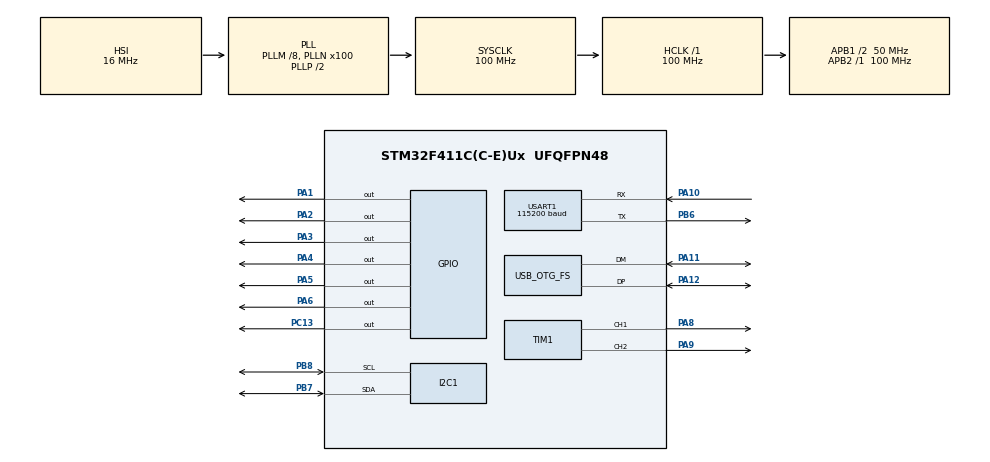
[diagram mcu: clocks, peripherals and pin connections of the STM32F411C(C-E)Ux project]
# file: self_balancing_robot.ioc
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FREERTOS.Tasks01=defaultTask,24,128,StartDefaultTask,Default,NULL,Dynamic,NULL,NULL
Mcu.Family=STM32F4
Mcu.Name=STM32F411C(C-E)Ux
Mcu.Package=UFQFPN48
NVIC.OTG_FS_IRQn=true\:5\:0\:false\:false\:true\:true\:false\:true\:true
NVIC.PriorityGroup=NVIC_PRIORITYGROUP_4
NVIC.USART1_IRQn=true\:5\:0\:false\:false\:true\:true\:true\:true\:true
PA1.Signal=GPIO_Output
PA10.GPIO_PuPd=GPIO_PULLUP
PA10.Mode=Asynchronous
PA10.Signal=USART1_RX
PA11.Mode=Device_Only
PA11.Signal=USB_OTG_FS_DM
PA12.Mode=Device_Only
PA12.Signal=USB_OTG_FS_DP
PA2.Signal=GPIO_Output
PA3.Signal=GPIO_Output
PA4.Signal=GPIO_Output
PA5.Signal=GPIO_Output
PA6.Signal=GPIO_Output
PA8.Signal=S_TIM1_CH1
PA9.Signal=S_TIM1_CH2
PB6.Mode=Asynchronous
PB6.Signal=USART1_TX
PB7.GPIO_Pu=GPIO_PULLUP
PB7.Mode=I2C
PB7.Signal=I2C1_SDA
PB8.GPIO_Pu=GPIO_PULLUP
PB8.Mode=I2C
PB8.Signal=I2C1_SCL
PC13-ANTI_TAMP.Signal=GPIO_Output
ProjectManager.HeapSize=0x200
ProjectManager.StackSize=0x400
ProjectManager.TargetToolchain=STM32CubeIDE
RCC.48MHZClocksFreq_Value=50000000
RCC.AHBFreq_Value=100000000
RCC.APB1CLKDivider=RCC_HCLK_DIV2
RCC.APB1Freq_Value=50000000
RCC.APB1TimFreq_Value=100000000
RCC.APB2Freq_Value=100000000
RCC.APB2TimFreq_Value=100000000
RCC.CortexFreq_Value=100000000
RCC.HCLKFreq_Value=100000000
RCC.HSE_VALUE=25000000
RCC.HSI_VALUE=16000000
RCC.LSE_VALUE=32768
RCC.PLLM=8
RCC.PLLN=100
RCC.PLLSource=RCC_PLLSOURCE_HSI
RCC.PLLSourceVirtualString=RCC_PLLSOURCE_HSI
RCC.SYSCLKFreq_VALUE=100000000
RCC.SYSCLKSource=RCC_SYSCLKSOURCE_PLLCLK
RCC.VCOOutputFreq_Value=200000000
SH.S_TIM1_CH1.0=TIM1_CH1,PWM Generation1 CH1
SH.S_TIM1_CH2.0=TIM1_CH2,PWM Generation2 CH2
TIM1.Channel-PWM\ Generation1\ CH1=TIM_CHANNEL_1
TIM1.Channel-PWM\ Generation2\ CH2=TIM_CHANNEL_2
USART1.BaudRate=115200
USART1.VirtualMode=VM_ASYNC
USB_DEVICE.CLASS_NAME_FS=CDC
USB_DEVICE.VirtualMode=Cdc
USB_DEVICE.VirtualModeFS=Cdc_FS
USB_OTG_FS.VirtualMode=Device_Only
VP_FREERTOS_VS_CMSIS_V2.Mode=CMSIS_V2
VP_TIM1_VS_ClockSourceINT.Mode=Internal
VP_USB_DEVICE_VS_USB_DEVICE_CDC_FS.Mode=CDC_FS
board=custom

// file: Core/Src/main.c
/* USER CODE BEGIN Header */
/**
  ******************************************************************************
  * @file           : main.c
  * @brief          : Main program body
  ******************************************************************************
  */
/* USER CODE END Header */
#include "main.h"
#include "cmsis_os.h"
#include "usb_device.h"

/* USER CODE BEGIN Includes */
#include "mpu6050.h"
#include "pid.h"
#include "motor.h"
#include "bluetooth.h"
#include "usbd_cdc_if.h"
/* USER CODE END Includes */

/* USER CODE BEGIN PD */
#define TARGET_ANGLE    0.0f    // 목표 각도 (직립)
#define CONTROL_PERIOD  10      // 제어 주기 (ms)
/* USER CODE END PD */

I2C_HandleTypeDef hi2c1;

TIM_HandleTypeDef htim1;

UART_HandleTypeDef huart1;

/* Definitions for defaultTask */
osThreadId_t defaultTaskHandle;
const osThreadAttr_t defaultTask_attributes = {
  .name = "defaultTask",
  .stack_size = 128 * 4,
  .priority = (osPriority_t) osPriorityNormal,
};
/* USER CODE BEGIN PV */
// FreeRTOS 태스크 핸들
osThreadId_t imuTaskHandle;
osThreadId_t pidTaskHandle;
osThreadId_t btTaskHandle;
osThreadId_t imuDebugTaskHandle;   // [진단용] IMU 각도 USB 출력 태스크

// 태스크 속성
const osThreadAttr_t imuTask_attributes = {
  .name = "imuTask",
  .stack_size = 256 * 4,
  .priority = (osPriority_t) osPriorityHigh,
};
const osThreadAttr_t pidTask_attributes = {
  .name = "pidTask",
  .stack_size = 256 * 4,
  .priority = (osPriority_t) osPriorityAboveNormal,
};
const osThreadAttr_t btTask_attributes = {
  .name = "btTask",
  .stack_size = 256 * 4,
  .priority = (osPriority_t) osPriorityNormal,
};
// [진단용] IMU 디버그 태스크 속성 - 테스트 끝나면 삭제
const osThreadAttr_t imuDebugTask_attributes = {
  .name = "imuDebugTask",
  .stack_size = 256 * 4,
  .priority = (osPriority_t) osPriorityLow,
};

// 전역 변수
MPU6050_Data imu_data;
PID_Controller pid;
BT_Data bt_data;
volatile uint32_t i2c_fail_count = 0;

// 뮤텍스
osMutexId_t imu_mutex;
osMutexId_t pid_mutex;
/* USER CODE END PV */

void SystemClock_Config(void);
static void MX_GPIO_Init(void);
static void MX_I2C1_Init(void);
static void MX_TIM1_Init(void);
static void MX_USART1_UART_Init(void);
void StartDefaultTask(void *argument);

/* USER CODE BEGIN PFP */
void StartIMUTask(void *argument);
void StartPIDTask(void *argument);
void StartBTTask(void *argument);
void StartIMUDebugTask(void *argument);  // [진단용]
/* USER CODE END PFP */

int main(void)
{

  /* MCU Configuration--------------------------------------------------------*/

  /* Reset of all peripherals, Initializes the Flash interface and the Systick. */
  HAL_Init();

  /* Configure the system clock */
  SystemClock_Config();

  /* Initialize all configured peripherals */
  MX_GPIO_Init();
  MX_I2C1_Init();
  MX_TIM1_Init();
  MX_USART1_UART_Init();
  /* USER CODE BEGIN 2 */
  // 부품 초기화
  if (MPU6050_Init(&hi2c1) != HAL_OK)
  {
    i2c_fail_count += 1000;  // 초기화 실패면 fail 카운트가 확 튀게 표시
  }
  Motor_Init(&htim1);
  PID_Init(&pid, PID_KP_INIT, PID_KI_INIT, PID_KD_INIT);
  BT_Init(&huart1, &bt_data);
  /* USER CODE END 2 */

  /* Init scheduler */
  osKernelInitialize();

  /* USER CODE BEGIN RTOS_MUTEX */
  imu_mutex = osMutexNew(NULL);
  pid_mutex = osMutexNew(NULL);
  /* USER CODE END RTOS_MUTEX */

  /* Create the thread(s) */
  /* creation of defaultTask */
  defaultTaskHandle = osThreadNew(StartDefaultTask, NULL, &defaultTask_attributes);

  /* USER CODE BEGIN RTOS_THREADS */
  imuTaskHandle = osThreadNew(StartIMUTask, NULL, &imuTask_attributes);
  pidTaskHandle = osThreadNew(StartPIDTask, NULL, &pidTask_attributes);
  btTaskHandle  = osThreadNew(StartBTTask,  NULL, &btTask_attributes);
  imuDebugTaskHandle = osThreadNew(StartIMUDebugTask, NULL, &imuDebugTask_attributes);  // [진단용] 테스트 끝나면 이 줄 삭제
  /* USER CODE END RTOS_THREADS */

  /* Start scheduler */
  osKernelStart();

  /* We should never get here as control is now taken by the scheduler */

  /* Infinite loop */
  while (1)
  {

  }
}

void SystemClock_Config(void)
{
  RCC_OscInitTypeDef RCC_OscInitStruct = {0};
  RCC_ClkInitTypeDef RCC_ClkInitStruct = {0};

  /** Configure the main internal regulator output voltage
  */
  __HAL_RCC_PWR_CLK_ENABLE();
  __HAL_PWR_VOLTAGESCALING_CONFIG(PWR_REGULATOR_VOLTAGE_SCALE1);

  /** Initializes the RCC Oscillators according to the specified parameters
  * in the RCC_OscInitTypeDef structure.
  */
  RCC_OscInitStruct.OscillatorType = RCC_OSCILLATORTYPE_HSI;
  RCC_OscInitStruct.HSIState = RCC_HSI_ON;
  RCC_OscInitStruct.HSICalibrationValue = RCC_HSICALIBRATION_DEFAULT;
  RCC_OscInitStruct.PLL.PLLState = RCC_PLL_ON;
  RCC_OscInitStruct.PLL.PLLSource = RCC_PLLSOURCE_HSI;
  RCC_OscInitStruct.PLL.PLLM = 8;
  RCC_OscInitStruct.PLL.PLLN = 100;
  RCC_OscInitStruct.PLL.PLLP = RCC_PLLP_DIV2;
  RCC_OscInitStruct.PLL.PLLQ = 4;
  if (HAL_RCC_OscConfig(&RCC_OscInitStruct) != HAL_OK)
  {
    Error_Handler();
  }

  /** Initializes the CPU, AHB and APB buses clocks
  */
  RCC_ClkInitStruct.ClockType = RCC_CLOCKTYPE_HCLK|RCC_CLOCKTYPE_SYSCLK
                              |RCC_CLOCKTYPE_PCLK1|RCC_CLOCKTYPE_PCLK2;
  RCC_ClkInitStruct.SYSCLKSource = RCC_SYSCLKSOURCE_PLLCLK;
  RCC_ClkInitStruct.AHBCLKDivider = RCC_SYSCLK_DIV1;
  RCC_ClkInitStruct.APB1CLKDivider = RCC_HCLK_DIV2;
  RCC_ClkInitStruct.APB2CLKDivider = RCC_HCLK_DIV1;

  if (HAL_RCC_ClockConfig(&RCC_ClkInitStruct, FLASH_LATENCY_3) != HAL_OK)
  {
    Error_Handler();
  }
}

static void MX_I2C1_Init(void)
{

  hi2c1.Instance = I2C1;
  hi2c1.Init.ClockSpeed = 100000;
  hi2c1.Init.DutyCycle = I2C_DUTYCYCLE_2;
  hi2c1.Init.OwnAddress1 = 0;
  hi2c1.Init.AddressingMode = I2C_ADDRESSINGMODE_7BIT;
  hi2c1.Init.DualAddressMode = I2C_DUALADDRESS_DISABLE;
  hi2c1.Init.OwnAddress2 = 0;
  hi2c1.Init.GeneralCallMode = I2C_GENERALCALL_DISABLE;
  hi2c1.Init.NoStretchMode = I2C_NOSTRETCH_DISABLE;
  if (HAL_I2C_Init(&hi2c1) != HAL_OK)
  {
    Error_Handler();
  }

}

static void MX_TIM1_Init(void)
{

  TIM_ClockConfigTypeDef sClockSourceConfig = {0};
  TIM_MasterConfigTypeDef sMasterConfig = {0};
  TIM_OC_InitTypeDef sConfigOC = {0};
  TIM_BreakDeadTimeConfigTypeDef sBreakDeadTimeConfig = {0};

  htim1.Instance = TIM1;
  htim1.Init.Prescaler = 0;
  htim1.Init.CounterMode = TIM_COUNTERMODE_UP;
  htim1.Init.Period = 65535;
  htim1.Init.ClockDivision = TIM_CLOCKDIVISION_DIV1;
  htim1.Init.RepetitionCounter = 0;
  htim1.Init.AutoReloadPreload = TIM_AUTORELOAD_PRELOAD_DISABLE;
  if (HAL_TIM_Base_Init(&htim1) != HAL_OK)
  {
    Error_Handler();
  }
  sClockSourceConfig.ClockSource = TIM_CLOCKSOURCE_INTERNAL;
  if (HAL_TIM_ConfigClockSource(&htim1, &sClockSourceConfig) != HAL_OK)
  {
    Error_Handler();
  }
  if (HAL_TIM_PWM_Init(&htim1) != HAL_OK)
  {
    Error_Handler();
  }
  sMasterConfig.MasterOutputTrigger = TIM_TRGO_RESET;
  sMasterConfig.MasterSlaveMode = TIM_MASTERSLAVEMODE_DISABLE;
  if (HAL_TIMEx_MasterConfigSynchronization(&htim1, &sMasterConfig) != HAL_OK)
  {
    Error_Handler();
  }
  sConfigOC.OCMode = TIM_OCMODE_PWM1;
  sConfigOC.Pulse = 0;
  sConfigOC.OCPolarity = TIM_OCPOLARITY_HIGH;
  sConfigOC.OCNPolarity = TIM_OCNPOLARITY_HIGH;
  sConfigOC.OCFastMode = TIM_OCFAST_DISABLE;
  sConfigOC.OCIdleState = TIM_OCIDLESTATE_RESET;
  sConfigOC.OCNIdleState = TIM_OCNIDLESTATE_RESET;
  if (HAL_TIM_PWM_ConfigChannel(&htim1, &sConfigOC, TIM_CHANNEL_1) != HAL_OK)
  {
    Error_Handler();
  }
  if (HAL_TIM_PWM_ConfigChannel(&htim1, &sConfigOC, TIM_CHANNEL_2) != HAL_OK)
  {
    Error_Handler();
  }
  sBreakDeadTimeConfig.OffStateRunMode = TIM_OSSR_DISABLE;
  sBreakDeadTimeConfig.OffStateIDLEMode = TIM_OSSI_DISABLE;
  sBreakDeadTimeConfig.LockLevel = TIM_LOCKLEVEL_OFF;
  sBreakDeadTimeConfig.DeadTime = 0;
  sBreakDeadTimeConfig.BreakState = TIM_BREAK_DISABLE;
  sBreakDeadTimeConfig.BreakPolarity = TIM_BREAKPOLARITY_HIGH;
  sBreakDeadTimeConfig.AutomaticOutput = TIM_AUTOMATICOUTPUT_DISABLE;
  if (HAL_TIMEx_ConfigBreakDeadTime(&htim1, &sBreakDeadTimeConfig) != HAL_OK)
  {
    Error_Handler();
  }
  HAL_TIM_MspPostInit(&htim1);

}

static void MX_USART1_UART_Init(void)
{

  huart1.Instance = USART1;
  huart1.Init.BaudRate = 115200;
  huart1.Init.WordLength = UART_WORDLENGTH_8B;
  huart1.Init.StopBits = UART_STOPBITS_1;
  huart1.Init.Parity = UART_PARITY_NONE;
  huart1.Init.Mode = UART_MODE_TX_RX;
  huart1.Init.HwFlowCtl = UART_HWCONTROL_NONE;
  huart1.Init.OverSampling = UART_OVERSAMPLING_16;
  if (HAL_UART_Init(&huart1) != HAL_OK)
  {
    Error_Handler();
  }

}

static void MX_GPIO_Init(void)
{
  GPIO_InitTypeDef GPIO_InitStruct = {0};

  /* GPIO Ports Clock Enable */
  __HAL_RCC_GPIOC_CLK_ENABLE();
  __HAL_RCC_GPIOA_CLK_ENABLE();
  __HAL_RCC_GPIOB_CLK_ENABLE();

  /*Configure GPIO pin Output Level */
  HAL_GPIO_WritePin(GPIOC, GPIO_PIN_13, GPIO_PIN_RESET);

  /*Configure GPIO pin Output Level */
  HAL_GPIO_WritePin(GPIOA, GPIO_PIN_1|GPIO_PIN_2|GPIO_PIN_3|GPIO_PIN_4
                          |GPIO_PIN_5|GPIO_PIN_6, GPIO_PIN_RESET);

  /*Configure GPIO pin : PC13 */
  GPIO_InitStruct.Pin = GPIO_PIN_13;
  GPIO_InitStruct.Mode = GPIO_MODE_OUTPUT_PP;
  GPIO_InitStruct.Pull = GPIO_NOPULL;
  GPIO_InitStruct.Speed = GPIO_SPEED_FREQ_LOW;
  HAL_GPIO_Init(GPIOC, &GPIO_InitStruct);

  /*Configure GPIO pins : PA1 PA2 PA3 PA4
                           PA5 PA6 */
  GPIO_InitStruct.Pin = GPIO_PIN_1|GPIO_PIN_2|GPIO_PIN_3|GPIO_PIN_4
                          |GPIO_PIN_5|GPIO_PIN_6;
  GPIO_InitStruct.Mode = GPIO_MODE_OUTPUT_PP;
  GPIO_InitStruct.Pull = GPIO_NOPULL;
  GPIO_InitStruct.Speed = GPIO_SPEED_FREQ_LOW;
  HAL_GPIO_Init(GPIOA, &GPIO_InitStruct);

}

/* USER CODE BEGIN 4 */

// IMU 태스크 - 10ms 주기로 각도 읽기
void StartIMUTask(void *argument)
{
  for(;;)
  {
    MPU6050_Data temp;
    if (MPU6050_ReadData(&hi2c1, &temp) == HAL_OK)
    {
      osMutexAcquire(imu_mutex, osWaitForever);
      imu_data = temp;
      osMutexRelease(imu_mutex);
    }
    else
    {
      i2c_fail_count++;
    }
    osDelay(CONTROL_PERIOD);
  }
}

// [진단용] I2C 버스 스캐너 - 0x01~0x7F 전체 주소 훑어서 응답하는 주소 출력
void I2C_ScanBus(I2C_HandleTypeDef *hi2c)
{
  char msg[64];
  int len = snprintf(msg, sizeof(msg), "--- I2C SCAN START ---\r\n");
  CDC_Transmit_FS((uint8_t*)msg, len);
  osDelay(50);

  int found = 0;
  for (uint8_t addr = 1; addr < 128; addr++)
  {
    if (HAL_I2C_IsDeviceReady(hi2c, (uint16_t)(addr << 1), 2, 10) == HAL_OK)
    {
      len = snprintf(msg, sizeof(msg), "Found device at 0x%02X\r\n", addr);
      CDC_Transmit_FS((uint8_t*)msg, len);
      osDelay(50);
      found++;
    }
  }

  len = snprintf(msg, sizeof(msg), "--- SCAN DONE (%d found) ---\r\n", found);
  CDC_Transmit_FS((uint8_t*)msg, len);
}

// [진단용] IMU 각도값을 USB CDC로 출력 - 100ms 주기
// 맥북에서 확인: screen /dev/tty.usbmodemXXXX 115200 또는 CoolTerm
// 테스트 끝나면 이 함수 + 위쪽 등록 코드 삭제해도 됨
void StartIMUDebugTask(void *argument)
{
  char msg[64];
  osDelay(2000);// USB CDC 열거(enumeration) 시간 확보 (defaultTask에서 USB_DEVICE_Init 실행됨)
  //I2C_ScanBus(&hi2c1);   // 진단용, 한 번만 실행
  for(;;)
  {
    MPU6050_Data snapshot;
    osMutexAcquire(imu_mutex, osWaitForever);
    snapshot = imu_data;
    osMutexRelease(imu_mutex);

    int len = snprintf(msg, sizeof(msg), "angle: %.2f  gyro: %.2f\r\n",
                        snapshot.angle, snapshot.gyro_rate);
    CDC_Transmit_FS((uint8_t*)msg, len);

    osDelay(100);
  }
}

// PID 태스크 - 10ms 주기로 제어
void StartPIDTask(void *argument)
{
  for(;;)
  {
    BT_SendData(&huart1, 1.23f, 4.56f);
    osDelay(100);
  }
}

// BT 태스크 - 블루투스 명령 파싱
void StartBTTask(void *argument)
{
  for(;;)
  {
    osMutexAcquire(pid_mutex, osWaitForever);
    BT_ParseCommand(&bt_data);
    osMutexRelease(pid_mutex);

    osDelay(100);
  }
}

// UART 수신 완료 콜백
// 기존 HAL_UART_RxCpltCallback 삭제하고 이걸로 교체
void HAL_UARTEx_RxEventCallback(UART_HandleTypeDef *huart, uint16_t Size)
{
  if (huart->Instance == USART1)
  {
    bt_data.received = 1;
    HAL_GPIO_TogglePin(GPIOC, GPIO_PIN_13);
    HAL_UARTEx_ReceiveToIdle_IT(&huart1, (uint8_t*)bt_data.buffer, BT_BUFFER_SIZE);
  }
}

/* USER CODE END 4 */

void StartDefaultTask(void *argument)
{
  /* init code for USB_DEVICE */
  MX_USB_DEVICE_Init();
  /* USER CODE BEGIN 5 */
  for(;;)
  {
    osDelay(1000);   // 그냥 대기만, 토글 없음
  }
  /* USER CODE END 5 */
}

void Error_Handler(void)
{
  __disable_irq();
  while (1) {}
}
